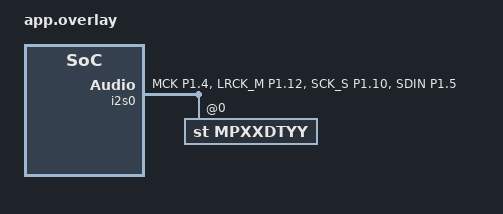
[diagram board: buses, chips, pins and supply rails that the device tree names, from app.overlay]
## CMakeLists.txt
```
#
# Copyright (c) 2021 Nordic Semiconductor
#
# SPDX-License-Identifier: LicenseRef-Nordic-5-Clause
#

cmake_minimum_required(VERSION 3.20.0)
#added by Nora


find_package(Zephyr REQUIRED HINTS $ENV{ZEPHYR_BASE})
project("Edge Impulse wrapper sample")

set(PM_STATIC_YML_FILE
  ${CMAKE_CURRENT_SOURCE_DIR}/boards/pm_static_${BOARD}.yml
  )

# NORDIC SDK APP START
target_include_directories(app PRIVATE src/include)
target_sources(app PRIVATE src/main.c)
# NORDIC SDK APP END

# Preinitialization related to Thingy:53 DFU
target_sources_ifdef(CONFIG_BOARD_THINGY53_NRF5340_CPUAPP app PRIVATE
  boards/thingy53.c
)
target_sources_ifdef(CONFIG_BOARD_THINGY53_NRF5340_CPUAPP_NS app PRIVATE
  boards/thingy53.c
)

add_subdirectory(src/modules)
```

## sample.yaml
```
sample:
  description: Sample showing Edge Impulse wrapper usage
  name: Edge Impulse wrapper sample
common:
  harness: console
  harness_config:
    ordered: true
    regex:
      - "Classification results"
      - "Value: (1[.]0[0-9]+)|(0[.]9[0-9]+)\tLabel: sine"
      - "Value: 0[.]0[0-9]+\tLabel: triangle"
      - "Value: 0[.]0[0-9]+\tLabel: idle"
      - "Anomaly: (-[0-9]+[.][0-9]+)|(0[.]0[0-9]+)"
    type: multi_line
  integration_platforms:
    - nrf52dk_nrf52832
    - nrf52840dk_nrf52840
    - nrf5340dk_nrf5340_cpuapp
    - nrf5340dk_nrf5340_cpuapp_ns
    - nrf9160dk_nrf9160_ns
    - qemu_cortex_m3
  platform_exclude: native_posix qemu_x86
tests:
  sample.bluetooth.central_uart:
    build_only: true
    integration_platforms:
      - nrf5340dk_nrf5340_cpuapp
      - nrf5340dk_nrf5340_cpuapp_ns
    platform_allow: 
      nrf5340dk_nrf5340_cpuapp nrf5340dk_nrf5340_cpuapp_ns


    
```

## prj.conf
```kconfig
# Config Logging:

CONFIG_RTT_CONSOLE=n
CONFIG_CONSOLE=y
CONFIG_LOG=y
CONFIG_LOG_DEFAULT_LEVEL=4
CONFIG_EI_WRAPPER_LOG_LEVEL_DBG=y
CONFIG_LOG_BACKEND_RTT=y
# CONFIG_AUDIO_DMIC_LOG_LEVEL_DBG=y
CONFIG_THREAD_NAME=n
CONFIG_THREAD_ANALYZER=n
CONFIG_THREAD_ANALYZER_AUTO=n
CONFIG_THREAD_ANALYZER_RUN_UNLOCKED=n

# Enable Edge Impulse dependencies
CONFIG_CPLUSPLUS=y
CONFIG_STD_CPP11=y
CONFIG_LIB_CPLUSPLUS=y
CONFIG_NEWLIB_LIBC=y
CONFIG_NEWLIB_LIBC_FLOAT_PRINTF=y
CONFIG_FP16=n

# Enable Edge Impulse
CONFIG_EDGE_IMPULSE=y
CONFIG_EDGE_IMPULSE_URI="woodpeck-v31.zip"
CONFIG_EI_WRAPPER=y
CONFIG_EI_WRAPPER_DATA_BUF_SIZE=18000
CONFIG_EI_WRAPPER_PROFILING=y
CONFIG_RESET_ON_FATAL_ERROR=n
CONFIG_BT_HCI=y

#Bluetooth general

CONFIG_BT=y
CONFIG_BT_PERIPHERAL=y
CONFIG_BT_DEVICE_NAME="Woodpecker_detector"
CONFIG_BT_DEVICE_APPEARANCE=833
CONFIG_BT_MAX_CONN=1
CONFIG_BT_MAX_PAIRED=1
CONFIG_IMG_MANAGER=y
CONFIG_BT_NUS=y

# Enable bonding

CONFIG_BT_SETTINGS=y
CONFIG_FLASH=y
CONFIG_FLASH_PAGE_LAYOUT=y
CONFIG_FLASH_MAP=y
CONFIG_NVS=y
CONFIG_SETTINGS=y

# Reconfigure sizes

CONFIG_SYSTEM_WORKQUEUE_STACK_SIZE=4096
CONFIG_LOG_BUFFER_SIZE=10000
CONFIG_HEAP_MEM_POOL_SIZE=2048
CONFIG_MAIN_STACK_SIZE=4096

#Random things

CONFIG_ASSERT=y
CONFIG_FLASH=y
CONFIG_BOOTLOADER_MCUBOOT=y
CONFIG_REBOOT=y

#Audio:

CONFIG_AUDIO=y
CONFIG_AUDIO_DMIC=y
```

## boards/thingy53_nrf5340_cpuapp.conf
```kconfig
#
# Copyright (c) 2021 Nordic Semiconductor ASA
#
# SPDX-License-Identifier: LicenseRef-Nordic-5-Clause
#
################################################################################
# Application overlay - Thingy:53 DFU

CONFIG_MCUMGR=y
CONFIG_MCUMGR_SMP_BT=y
CONFIG_MCUMGR_SMP_BT_AUTHEN=n
CONFIG_MCUMGR_SMP_BT_CONN_PARAM_CONTROL=y

CONFIG_MCUMGR_CMD_IMG_MGMT=y
CONFIG_MCUMGR_CMD_OS_MGMT=y

# Enable custom SMP request to erase settings partition.
CONFIG_MCUMGR_GRP_ZEPHYR_BASIC=y
CONFIG_MCUMGR_GRP_BASIC_CMD_STORAGE_ERASE=y

# Increase system workqueue stack size to prevent stack overflows while handling
# SMP requests.
CONFIG_SYSTEM_WORKQUEUE_STACK_SIZE=2800

CONFIG_BT_L2CAP_TX_MTU=498
CONFIG_BT_BUF_ACL_TX_SIZE=251
CONFIG_BT_BUF_ACL_RX_SIZE=502

# Use connection parameters that ensure quick data transfer
CONFIG_BT_PERIPHERAL_PREF_MIN_INT=6
CONFIG_BT_PERIPHERAL_PREF_MAX_INT=6
CONFIG_BT_PERIPHERAL_PREF_LATENCY=99
CONFIG_BT_PERIPHERAL_PREF_TIMEOUT=400

################################################################################
# Bootloader configuration

CONFIG_BOOTLOADER_MCUBOOT=y
CONFIG_MCUBOOT_IMAGE_VERSION="1.0.0+0"
CONFIG_UPDATEABLE_IMAGE_NUMBER=2

CONFIG_IMG_MANAGER=y
CONFIG_MCUBOOT_IMG_MANAGER=y
CONFIG_IMG_ERASE_PROGRESSIVELY=y

################################################################################
# External flash configuration

CONFIG_NORDIC_QSPI_NOR=y
CONFIG_NORDIC_QSPI_NOR_FLASH_LAYOUT_PAGE_SIZE=4096
CONFIG_NORDIC_QSPI_NOR_STACK_WRITE_BUFFER_SIZE=16

# FLASH nop device is enabled to prevent bus faults when mcumgr tries to access
# simulated partition with network core image data.
CONFIG_FLASH_NOP_DEVICE=y

################################################################################
# Enable USB CDC ACM

CONFIG_USB_DEVICE_STACK=y
CONFIG_USB_DEVICE_REMOTE_WAKEUP=n
CONFIG_USB_DEVICE_PRODUCT="Thingy:53 Nordic UART Service sample"
CONFIG_USB_DEVICE_VID=0x1915
CONFIG_USB_DEVICE_PID=0x530E
CONFIG_USB_COMPOSITE_DEVICE=y
CONFIG_USB_CDC_ACM=y
CONFIG_USB_CDC_ACM_LOG_LEVEL_ERR=y
CONFIG_USB_DEVICE_LOG_LEVEL_ERR=y

CONFIG_LOG_BACKEND_UART=y
CONFIG_LOG_PRINTK=y
CONFIG_LOG_PROCESS_THREAD_STACK_SIZE=1024
CONFIG_LOG_PROCESS_THREAD_STARTUP_DELAY_MS=4000
CONFIG_USE_SEGGER_RTT=n
CONFIG_LOG_BACKEND_RTT=n

CONFIG_BT_NUS_UART_ASYNC_ADAPTER=y
CONFIG_UART_INTERRUPT_DRIVEN=y

# Disable the UARTE0 enabled in default project configuration
CONFIG_NRFX_UARTE0=n
CONFIG_UART_NRFX=n

# Enable DK LED and Buttons library
CONFIG_DK_LIBRARY=y

# Config logger
CONFIG_LOG=y
CONFIG_USE_SEGGER_RTT=y
CONFIG_LOG_BACKEND_RTT=y
CONFIG_LOG_BACKEND_UART=n

CONFIG_ASSERT=y


CONFIG_UART_INTERRUPT_DRIVEN=y
```

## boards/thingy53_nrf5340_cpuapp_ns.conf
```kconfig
#
# Copyright (c) 2021 Nordic Semiconductor ASA
#
# SPDX-License-Identifier: LicenseRef-Nordic-5-Clause
#
################################################################################
# Application overlay - Thingy:53 DFU

CONFIG_MCUMGR=y
CONFIG_MCUMGR_SMP_BT=y
CONFIG_MCUMGR_SMP_BT_AUTHEN=n
CONFIG_MCUMGR_SMP_BT_CONN_PARAM_CONTROL=y

CONFIG_MCUMGR_CMD_IMG_MGMT=y
CONFIG_MCUMGR_CMD_OS_MGMT=y

# Enable custom SMP request to erase settings partition.
CONFIG_MCUMGR_GRP_ZEPHYR_BASIC=y
CONFIG_MCUMGR_GRP_BASIC_CMD_STORAGE_ERASE=y

# Increase system workqueue stack size to prevent stack overflows while handling
# SMP requests.
CONFIG_SYSTEM_WORKQUEUE_STACK_SIZE=2800

CONFIG_BT_L2CAP_TX_MTU=498
CONFIG_BT_BUF_ACL_TX_SIZE=251
CONFIG_BT_BUF_ACL_RX_SIZE=502

# Use connection parameters that ensure quick data transfer
CONFIG_BT_PERIPHERAL_PREF_MIN_INT=6
CONFIG_BT_PERIPHERAL_PREF_MAX_INT=6
CONFIG_BT_PERIPHERAL_PREF_LATENCY=99
CONFIG_BT_PERIPHERAL_PREF_TIMEOUT=400

################################################################################
# Bootloader configuration

CONFIG_BOOTLOADER_MCUBOOT=y
CONFIG_MCUBOOT_IMAGE_VERSION="1.0.0+0"
CONFIG_UPDATEABLE_IMAGE_NUMBER=2

CONFIG_IMG_MANAGER=y
CONFIG_MCUBOOT_IMG_MANAGER=y
CONFIG_IMG_ERASE_PROGRESSIVELY=y

################################################################################
# External flash configuration

CONFIG_NORDIC_QSPI_NOR=y
CONFIG_NORDIC_QSPI_NOR_FLASH_LAYOUT_PAGE_SIZE=4096
CONFIG_NORDIC_QSPI_NOR_STACK_WRITE_BUFFER_SIZE=16

# FLASH nop device is enabled to prevent bus faults when mcumgr tries to access
# simulated partition with network core image data.
CONFIG_FLASH_NOP_DEVICE=y

################################################################################
# Enable USB CDC ACM

CONFIG_USB_DEVICE_STACK=y
CONFIG_USB_DEVICE_REMOTE_WAKEUP=n
CONFIG_USB_DEVICE_PRODUCT="Thingy:53 Nordic UART Service sample"
CONFIG_USB_DEVICE_VID=0x1915
CONFIG_USB_DEVICE_PID=0x530E
CONFIG_USB_COMPOSITE_DEVICE=y
CONFIG_USB_CDC_ACM=y
CONFIG_USB_CDC_ACM_LOG_LEVEL_ERR=y
CONFIG_USB_DEVICE_LOG_LEVEL_ERR=y

CONFIG_LOG_BACKEND_UART=y
CONFIG_LOG_PRINTK=y
CONFIG_LOG_PROCESS_THREAD_STACK_SIZE=1024
CONFIG_LOG_PROCESS_THREAD_STARTUP_DELAY_MS=4000
CONFIG_USE_SEGGER_RTT=n
CONFIG_LOG_BACKEND_RTT=n

CONFIG_BT_NUS_UART_ASYNC_ADAPTER=y
CONFIG_UART_INTERRUPT_DRIVEN=y

# Disable the UARTE0 enabled in default project configuration
CONFIG_NRFX_UARTE0=n
CONFIG_UART_NRFX=n

CONFIG_BUILD_WITH_TFM=n
CONFIG_SPM=y



##RM



#
# Copyright (c) 2021 Nordic Semiconductor ASA
#
# SPDX-License-Identifier: LicenseRef-Nordic-5-Clause
#

# CONFIG_BOOTLOADER_MCUBOOT=y

# Using console with UART
CONFIG_CONSOLE=y
CONFIG_UART_CONSOLE=y
CONFIG_RTT_CONSOLE=n

# Enable Edge Impulse dependencies
CONFIG_CPLUSPLUS=y
CONFIG_STD_CPP11=y
CONFIG_LIB_CPLUSPLUS=y
CONFIG_NEWLIB_LIBC=y
CONFIG_NEWLIB_LIBC_FLOAT_PRINTF=y
CONFIG_FP16=n

# Enable Edge Impulse
CONFIG_EDGE_IMPULSE=y
CONFIG_EDGE_IMPULSE_URI="woodpeckerdetector-v30.zip"
CONFIG_EI_WRAPPER=y
CONFIG_EI_WRAPPER_DATA_BUF_SIZE=16000


#
# Copyright (c) 2018 Nordic Semiconductor
#
# SPDX-License-Identifier: LicenseRef-Nordic-5-Clause
#

# Enable the UART driver
CONFIG_UART_ASYNC_API=y
CONFIG_NRFX_UARTE0=y
CONFIG_SERIAL=y

CONFIG_GPIO=y

# Make sure printk is printing to the UART console
CONFIG_CONSOLE=y
CONFIG_UART_CONSOLE=y

CONFIG_HEAP_MEM_POOL_SIZE=2048

CONFIG_BT=y
CONFIG_BT_PERIPHERAL=y
CONFIG_BT_DEVICE_NAME="Nordic_UART_Service"
CONFIG_BT_DEVICE_APPEARANCE=833
CONFIG_BT_MAX_CONN=1
CONFIG_BT_MAX_PAIRED=1
CONFIG_IMG_MANAGER=y

# Enable the NUS service
CONFIG_BT_NUS=y



# Enable bonding
CONFIG_BT_SETTINGS=y
CONFIG_FLASH=y
CONFIG_FLASH_PAGE_LAYOUT=y
CONFIG_FLASH_MAP=y
CONFIG_NVS=y
CONFIG_SETTINGS=y

# Enable DK LED and Buttons library
CONFIG_DK_LIBRARY=y

# This example requires more workqueue stack
CONFIG_SYSTEM_WORKQUEUE_STACK_SIZE=2048

# Config logger
CONFIG_LOG=y
CONFIG_USE_SEGGER_RTT=y
CONFIG_LOG_BACKEND_RTT=y
CONFIG_LOG_BACKEND_UART=n

CONFIG_ASSERT=y


CONFIG_UART_INTERRUPT_DRIVEN=y
```

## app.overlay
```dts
/*
 * Copyright (c) 2022 Nordic Semiconductor ASA
 *
 * SPDX-License-Identifier: LicenseRef-Nordic-5-Clause
 */

/ {
	chosen {
		nordic,nus-uart = &uart0;
	};
};

//added by nora
&pinctrl{
    i2s_default: i2s_default {
        group0 {
            psels = <NRF_PSEL(I2S_MCK, 1, 4)>,
                <NRF_PSEL(I2S_LRCK_M,1,12)>,
                <NRF_PSEL(I2S_SCK_S,1,10)>,
             <NRF_PSEL(I2S_SDIN, 1, 5)>;
        };
    };
};
woodpecker_i2s: &i2s0 {
    status = "okay";
    pinctrl-0 = <&i2s_default>;
    pinctrl-names = "default";
    // sck-pin = <45>;//??
    // sdin-pin = <47>;//GOOD
    // mck-pin = <42>;//GOOD
    // lrck-pin = <44>;//GOOD
    // sdout-pin = <46>;
    mpxxdtyy@0 {
        compatible = "st,mpxxdtyy";
        label = "MPXXDTYY";
        reg = <0x0 >;
    };
};
```

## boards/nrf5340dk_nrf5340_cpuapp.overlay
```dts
 / {
	chosen {
		nordic,nus-uart = &uart0;
        
	};
};


 &clock {
    hfclkaudio-frequency = <12288000>;
};
&pinctrl {
    pdm0_default_alt: pdm0_default_alt {
        group1 {
            psels = <NRF_PSEL(PDM_CLK, 1, 5)>,
                <NRF_PSEL(PDM_DIN, 1, 6)>;
        };
    };
};
dmic_dev: &pdm0 {
    status = "okay";
    pinctrl-0 = <&pdm0_default_alt>;
    pinctrl-names = "default";
    clock-source = "ACLK";
};
```

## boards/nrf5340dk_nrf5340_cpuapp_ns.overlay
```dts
/ {
	chosen {
		nordic,nus-uart = &uart0;
        
	};
};

 &clock {
    hfclkaudio-frequency = <12288000>;
};
&pinctrl {
    pdm0_default_alt: pdm0_default_alt {
        group1 {
            psels = <NRF_PSEL(PDM_CLK, 1, 5)>,
                <NRF_PSEL(PDM_DIN, 1, 6)>;
        };
    };
};
dmic_dev: &pdm0 {
    status = "okay";
    pinctrl-0 = <&pdm0_default_alt>;
    pinctrl-names = "default";
    clock-source = "ACLK";
};
```

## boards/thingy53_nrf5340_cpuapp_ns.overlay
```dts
/ {
	chosen {
		nordic,pm-ext-flash = &mx25r64;
	};
};



/ {
	soc {
		/* Add a flash controller which has the compatible
		 * 'zephyr,sim-flash'. This will ensure that the flash
		 * simulator can use it. None of the other properties in this
		 * node is used for anything.
		 */
		nordic_ram_flash_controller: nordic_ram-flash-controller@0 {
			compatible = "zephyr,sim-flash";
			reg = <0x00000000 DT_SIZE_K(40)>;
			#address-cells = <1>;
			#size-cells = <1>;
			erase-value = <0xff>;
			label = "nordic_ram_flash_flash_controller";

			/* This node label must match that used in the flash
			 * simulator.
			 */
			flash_sim0: flash_sim@0 {
				status = "okay";
				compatible = "soc-nv-flash";
				label = "simulated_flash";
				erase-block-size = <4096>;
				write-block-size = <4>;
				reg = <0x00000000 DT_SIZE_K(256)>;

				partitions {
					compatible = "dynamic-partitions";
					#address-cells = <1>;
					#size-cells = <1>;

					/* This partition must be defined for
					 * MCUboot to find the partition ID
					 * of the primary slot for image 1,
					 * which is stored in this partition.
					 */
					slot2_partition: partition@0 {
						label = "image-2";
						reg = <0x00000000 0x00000A000>;
					};
				};
			};
		};
	};

	chosen {
		zephyr,console = &cdc_acm_uart0;
		nordic,nus-uart = &cdc_acm_uart1;
	};
};

&zephyr_udc0 {
	cdc_acm_uart0: cdc_acm_uart0 {
		compatible = "zephyr,cdc-acm-uart";
		label = "CDC_ACM_0";
	};

	cdc_acm_uart1: cdc_acm_uart1 {
		compatible = "zephyr,cdc-acm-uart";
		label = "CDC_ACM_1";
	};
};

/ {
	chosen {
		nordic,nus-uart = &uart0;
        
	};
};


 &clock {
    hfclkaudio-frequency = <12288000>;
};
&pinctrl {
    pdm0_default_alt: pdm0_default_alt {
        group1 {
            psels = <NRF_PSEL(PDM_CLK, 1, 9)>,
                <NRF_PSEL(PDM_DIN, 0, 27)>;
        };
    };
};
dmic_dev: &pdm0 {
    status = "okay";
    pinctrl-0 = <&pdm0_default_alt>;
    pinctrl-names = "default";
    clock-source = "ACLK";
};
```

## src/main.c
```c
#include <zephyr/kernel.h>
#include <ei_wrapper.h>
#include <logging/log.h>

#include "ble.h"
#include "mic.h"

LOG_MODULE_REGISTER(MAIN);

#define FRAME_ADD_INTERVAL_MS	100


static size_t frame_surplus;
float woodpecker;

static void result_ready_cb(int err)
{
	if (err) {
		LOG_ERR("Result ready callback returned error (err: %d)\n", err);
		return;
	}

	const char *label;
	float value;
	size_t inx;
	float anomaly;

	LOG_INF("Classification results\n");

	while (true) {
		err = ei_wrapper_get_next_classification_result(&label, &value, &inx);

		if (err) {
			if (err == -ENOENT) {
				err = 0;
				LOG_ERR("Edge Impulse wrapper failed to initialize (err: %d)\n",
		       		err);
			}
			else{
				LOG_ERR("Edge Impulse wrapper failed to initialize (err: %d)\n",
				err);
			   
			}
			break;
		}
		LOG_INF("idx: %i", inx);
		LOG_INF("Value: %.2f\tLabel: %s\n", value, label);
		if (inx == 2){

			woodpecker = 1; 

			LOG_INF("%f", woodpecker);

			memcpy(&woodpecker, &value, sizeof(woodpecker));

			LOG_INF("%f", woodpecker);
			
		}
	}

	if (err) {
		LOG_ERR("Cannot get classification results (err: %d)", err);
	} else {
		if (ei_wrapper_classifier_has_anomaly()) {
			err = ei_wrapper_get_anomaly(&anomaly);
			if (err) {
				LOG_WRN("Cannot get anomaly (err: %d)\n", err);
			} else {
				LOG_INF("Anomaly: %.2f\n", anomaly);
			}
		}
	}

	bool cancelled;
	
	err = ei_wrapper_clear_data(&cancelled);
	if(err){
		LOG_ERR("Data cleared: %i, error: %i", cancelled, err);
	}
}


K_THREAD_DEFINE(bleT, 4096, init_wp_ble, NULL, NULL, NULL, 6, 0, 0);
K_THREAD_DEFINE(ble_write_thread_id, STACKSIZE, ble_write_thread, &woodpecker, NULL,
		NULL, PRIORITY, 0, 0);
K_THREAD_DEFINE(micS, 1024, mic, NULL, NULL,
		NULL, 8, 0, 0);


void main(void)
{
	int err = ei_wrapper_init(result_ready_cb);

	if(err) {
		LOG_ERR("Edge Impulse wrapper failed to initialize (err: %d)\n",
		       err);
		
	}
}
```

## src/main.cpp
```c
#include <zephyr.h>
#include "edge-impulse-sdk/classifier/ei_run_classifier.h"
#include "edge-impulse-sdk/dsp/numpy.hpp"
#include <nrfx_clock.h>

static const float features[] = {
    // copy raw features here (for example from the 'Live classification' page)
    // see https://docs.edgeimpulse.com/docs/running-your-impulse-zephyr




};

int raw_feature_get_data(size_t offset, size_t length, float *out_ptr) {
    memcpy(out_ptr, features + offset, length * sizeof(float));
    return 0;
}

int main() {
    // This is needed so that output of printf is output immediately without buffering
    setvbuf(stdout, NULL, _IONBF, 0);

#ifdef CONFIG_SOC_NRF5340_CPUAPP
    // Switch CPU core clock to 128 MHz
    nrfx_clock_divider_set(NRF_CLOCK_DOMAIN_HFCLK, NRF_CLOCK_HFCLK_DIV_1);
#endif

    printk("Edge Impulse standalone inferencing (Zephyr)\n");

    if (sizeof(features) / sizeof(float) != EI_CLASSIFIER_DSP_INPUT_FRAME_SIZE) {
        printk("The size of your 'features' array is not correct. Expected %d items, but had %u\n",
            EI_CLASSIFIER_DSP_INPUT_FRAME_SIZE, sizeof(features) / sizeof(float));
        return 1;
    }

    ei_impulse_result_t result = { 0 };

    while (1) {
        // the features are stored into flash, and we don't want to load everything into RAM
        signal_t features_signal;
        features_signal.total_length = sizeof(features) / sizeof(features[0]);
        features_signal.get_data = &raw_feature_get_data;

        // invoke the impulse
        EI_IMPULSE_ERROR res = run_classifier(&features_signal, &result, true);
        printk("run_classifier returned: %d\n", res);

        if (res != 0) return 1;

        printk("Predictions (DSP: %d ms., Classification: %d ms., Anomaly: %d ms.): \n",
            result.timing.dsp, result.timing.classification, result.timing.anomaly);

        // print the predictions
        printk("[");
        for (size_t ix = 0; ix < EI_CLASSIFIER_LABEL_COUNT; ix++) {


            ei_printf_float(result.classification[ix].value);
#if EI_CLASSIFIER_HAS_ANOMALY == 1
            printk(", ");
#else
            if (ix != EI_CLASSIFIER_LABEL_COUNT - 1) {
                printk(", ");
            }
#endif
        }
#if EI_CLASSIFIER_HAS_ANOMALY == 1
        ei_printf_float(result.anomaly);
#endif
        printk("]\n");

        k_msleep(2000);
    }
}
```

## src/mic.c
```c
/*
 * Copyright (c) 2020 STMicroelectronics
 *
 * SPDX-License-Identifier: Apache-2.0
 */

#include <string.h>
#include <zephyr.h>
#include <sys/printk.h>

#include <audio/dmic.h>
#include "mic.h"

/* uncomment if you want PCM output in ascii */
/*#define PCM_OUTPUT_IN_ASCII		1  */
#define PCM_OUTPUT_IN_ASCII	1

#define AUDIO_FREQ		16000
#define CHAN_SIZE		16
#define PCM_BLK_SIZE_MS		((AUDIO_FREQ/1000) * sizeof(int16_t))

#define NUM_MS		1000

K_MEM_SLAB_DEFINE(rx_mem_slab, PCM_BLK_SIZE_MS, NUM_MS, 1);

struct pcm_stream_cfg mic_streams = {
	.pcm_rate = AUDIO_FREQ,
	.pcm_width = CHAN_SIZE,
	.block_size = PCM_BLK_SIZE_MS,
	.mem_slab = &rx_mem_slab,
};

struct dmic_cfg cfg = {
	.io = {
		/* requesting a pdm freq around 2MHz */
		.min_pdm_clk_freq = 1800000,
		.max_pdm_clk_freq = 2500000,
	},
	.streams = &mic_streams,
	.channel = {
		.req_num_chan = 1,
	},
};

void *rx_block[NUM_MS];
size_t rx_size = PCM_BLK_SIZE_MS;

void mic(void)
{
	int i;
	uint32_t ms;
	int ret;

	const struct device *mic_dev = device_get_binding(DT_LABEL(DT_INST(0, st_mpxxdtyy)));

	if (!mic_dev) {
		printk("Could not get pointer to mic device\n");
		return;
	}

	ret = dmic_configure(mic_dev, &cfg);
	if (ret < 0) {
		printk("microphone configuration error\n");
		printk("ret: %d\n", ret);
		return;
	}

	ret = dmic_trigger(mic_dev, DMIC_TRIGGER_START);
	if (ret < 0) {
		printk("microphone start trigger error\n");
		return;
	}

	/* Acquire microphone audio */
	for (ms = 0; ms < NUM_MS; ms++) {
		ret = dmic_read(mic_dev, 0, &rx_block[ms], &rx_size, 2000);
		if (ret < 0) {
			printk("microphone audio read error\n");
			return;
		}
	}

	ret = dmic_trigger(mic_dev, DMIC_TRIGGER_STOP);
	if (ret < 0) {
		printk("microphone stop trigger error\n");
		return;
	}

	/* print PCM stream */
#ifdef PCM_OUTPUT_IN_ASCII
	printk("-- start\n");
	int j;

	for (i = 0; i < NUM_MS; i++) {
		uint16_t *pcm_out = rx_block[i];

		for (j = 0; j < rx_size/2; j++) {
			//printk("0x%04x,\n", pcm_out[j]);
		}
		printk("%u, \n",*pcm_out);
	}
	
	printk("-- end\n");
#else
	unsigned char pcm_l, pcm_h;
	int j;


	for (i = 0; i < NUM_MS; i++) {
		uint16_t *pcm_out = rx_block[i];


		for (j = 0; j < rx_size/2; j++) {
			pcm_l = (char)(pcm_out[j] & 0xFF);
			pcm_h = (char)((pcm_out[j] >> 8) & 0xFF);

			z_impl_k_str_out(&pcm_l, 1);
			z_impl_k_str_out(&pcm_h, 1);
		}
	}
#endif
}
```
